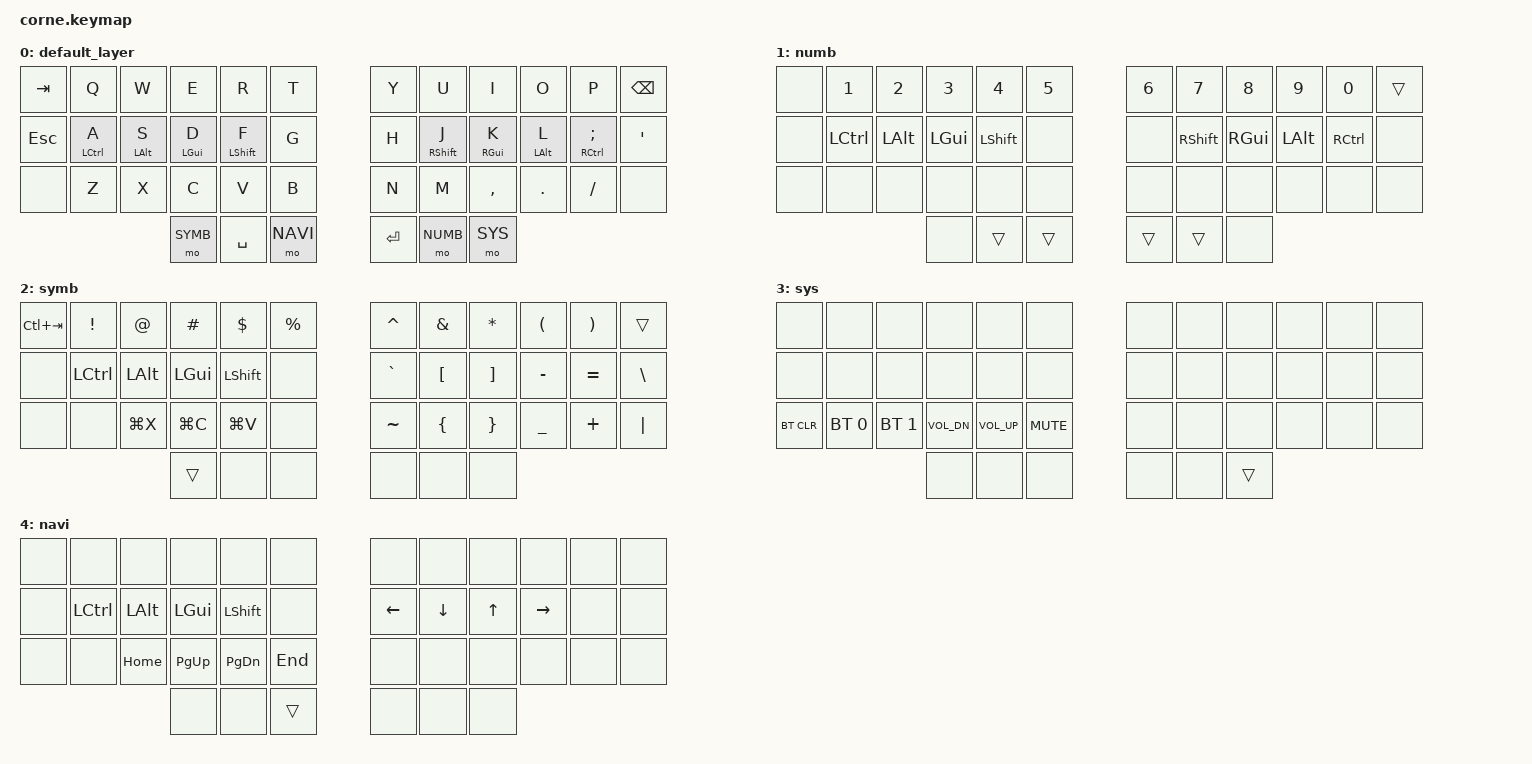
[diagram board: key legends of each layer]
#include <behaviors.dtsi>
#include <dt-bindings/zmk/keys.h>
#include <dt-bindings/zmk/bt.h>

#define DEFAULT 0
#define NUMB 1
#define SYMB 2
#define SYS 3
#define NAVI 4


/ {
   behaviors {
      bhm: balanced_homerow_mods {
         compatible = "zmk,behavior-hold-tap";
         #binding-cells = <2>;
         tapping-term-ms = <200>;
         quick-tap-ms = <200>;
         flavor = "balanced";
         bindings = <&kp>, <&kp>;
      };
      
      lbhm: long_balanced_homerow_mods {
         compatible = "zmk,behavior-hold-tap";
         #binding-cells = <2>;
         tapping-term-ms = <250>;
         quick-tap-ms = <200>;
         require-prior-idle-ms = <100>;
         flavor = "balanced";
         bindings = <&kp>, <&kp>;
      };
      
      tt: tap_toggle {
         compatible = "zmk,behavior-hold-tap";
         #binding-cells = <2>;
         tapping-term-ms = <200>;
         quick-tap-ms = <0>;
         flavor = "balanced";
         bindings = <&mo>, <&tog>;
      };
      
      plt: permissive_layer_tap {
         compatible = "zmk,behavior-hold-tap";
         #binding-cells = <2>;
         tapping-term-ms = <200>;
         quick-tap-ms = <0>;
         flavor = "balanced";
         bindings = <&mo>, <&kp>;
      };
   };

   keymap {
      compatible = "zmk,keymap";

      default_layer {
         bindings = <
//╭────────┬─────────────┬─────────────┬─────────────┬─────────────┬─────────────╮ ╭──────╮ ╭─────────────┬─────────────┬─────────────┬─────────────┬─────────────┬────────╮
   &kp TAB      &kp Q         &kp W         &kp E         &kp R         &kp T                    &kp Y         &kp U         &kp I         &kp O         &kp P     &kp BSPC
//├────────┼─────────────┼─────────────┼─────────────┼─────────────┼─────────────┤ ├──────┤ ├─────────────┼─────────────┼─────────────┼─────────────┼─────────────┼────────┤
   &kp ESC  &lbhm LCTRL A  &bhm LALT S   &bhm LGUI D   &bhm LSHFT F      &kp G                    &kp H     &bhm RSHFT J   &bhm RGUI K   &bhm LALT L  &lbhm RCTRL SEMI &kp SQT
//├────────┼─────────────┼─────────────┼─────────────┼─────────────┼─────────────┤ ├──────┤ ├─────────────┼─────────────┼─────────────┼─────────────┼─────────────┼────────┤
     &none     &kp Z         &kp X         &kp C         &kp V         &kp B                    &kp N         &kp M       &kp COMMA       &kp DOT      &kp FSLH    &none
//╰────────┼─────────────┼─────────────┴─────────────┼─────────────┼─────────────┤ ╰──────╯ ├─────────────┼─────────────┼─────────────┴─────────────┴─────────────┴────────╯
                                           &mo SYMB     &kp SPACE      &mo NAVI                 &kp RET      &mo NUMB       &mo SYS 
//                                     ╰─────────────┴─────────────┴─────────────╯          ╰─────────────┴─────────────┴─────────────╯                                           
         >;
      };
      numb {
         bindings = <
//╭────────┬─────────────┬─────────────┬─────────────┬─────────────┬─────────────╮ ╭──────╮ ╭─────────────┬─────────────┬─────────────┬─────────────┬─────────────┬────────╮
   &none       &kp N1        &kp N2        &kp N3        &kp N4        &kp N5                   &kp N6         &kp N7       &kp N8        &kp N9        &kp N0       &trans 
//├────────┼─────────────┼─────────────┼─────────────┼─────────────┼─────────────┤ ├──────┤ ├─────────────┼─────────────┼─────────────┼─────────────┼─────────────┼────────┤
   &none      &kp LCTRL     &kp LALT      &kp LGUI       &kp LSHFT     &none                    &none       &kp RSHFT      &kp RGUI     &kp LALT       &kp RCTRL     &none 
//├────────┼─────────────┼─────────────┼─────────────┼─────────────┼─────────────┤ ├──────┤ ├─────────────┼─────────────┼─────────────┼─────────────┼─────────────┼────────┤
   &none       &none          &none        &none          &none         &none                   &none          &none         &none         &none        &none        &none 
//╰────────┼─────────────┼─────────────┴─────────────┼─────────────┼─────────────┤ ╰──────╯ ├─────────────┼─────────────┼─────────────┴─────────────┴─────────────┴────────╯
                                            &none        &trans         &trans                    &trans         &trans        &none      
//                                     ╰─────────────┴─────────────┴─────────────╯          ╰─────────────┴─────────────┴─────────────╯                                           
         >;
      };
      symb {
         bindings = <
//╭────────┬─────────────┬─────────────┬─────────────┬─────────────┬─────────────╮ ╭──────╮ ╭─────────────┬─────────────┬─────────────┬─────────────┬─────────────┬────────╮
 &kp LC(TAB) &kp EXCL        &kp AT      &kp POUND     &kp DLLR      &kp PRCNT                 &kp CARET      &kp AMPS     &kp ASTRK     &kp LPAR      &kp RPAR    &trans 
//├────────┼─────────────┼─────────────┼─────────────┼─────────────┼─────────────┤ ├──────┤ ├─────────────┼─────────────┼─────────────┼─────────────┼─────────────┼────────┤
   &none      &kp LCTRL     &kp LALT      &kp LGUI      &kp LSHFT       &none                   &kp GRAVE      &kp LBKT     &kp RBKT      &kp MINUS     &kp EQUAL  &kp BSLH    
//├────────┼─────────────┼─────────────┼─────────────┼─────────────┼─────────────┤ ├──────┤ ├─────────────┼─────────────┼─────────────┼─────────────┼─────────────┼────────┤
   &none       &none        &kp LG(X)     &kp LG(C)     &kp LG(V)       &none                   &kp TILDE      &kp LBRC     &kp RBRC      &kp UNDER     &kp PLUS   &kp PIPE  
//╰────────┼─────────────┼─────────────┴─────────────┼─────────────┼─────────────┤ ╰──────╯ ├─────────────┼─────────────┼─────────────┴─────────────┴─────────────┴────────╯
                                           &trans         &none         &none                    &none         &none        &none        
//                                     ╰─────────────┴─────────────┴─────────────╯          ╰─────────────┴─────────────┴─────────────╯                                           
         >;
      };
      sys {
         bindings = <
//╭────────┬─────────────┬─────────────┬─────────────┬─────────────┬─────────────╮ ╭──────╮ ╭─────────────┬─────────────┬─────────────┬─────────────┬─────────────┬────────╮
   &none       &none          &none        &none          &none         &none                    &none         &none         &none         &none         &none       &none 
//├────────┼─────────────┼─────────────┼─────────────┼─────────────┼─────────────┤ ├──────┤ ├─────────────┼─────────────┼─────────────┼─────────────┼─────────────┼────────┤
   &none       &none          &none        &none          &none         &none                    &none         &none         &none         &none         &none       &none 
//├────────┼─────────────┼─────────────┼─────────────┼─────────────┼─────────────┤ ├──────┤ ├─────────────┼─────────────┼─────────────┼─────────────┼─────────────┼────────┤
&bt BT_CLR   &bt BT_SEL 0  &bt BT_SEL 1  &kp C_VOL_DN  &kp C_VOL_UP  &kp C_MUTE                  &none         &none         &none         &none         &none       &none 
//╰────────┼─────────────┼─────────────┴─────────────┼─────────────┼─────────────┤ ╰──────╯ ├─────────────┼─────────────┼─────────────┴─────────────┴─────────────┴────────╯
                                            &none         &none        &none                     &none         &none         &trans        
//                                     ╰─────────────┴─────────────┴─────────────╯          ╰─────────────┴─────────────┴─────────────╯                                           
         >;
      };
      navi {
         bindings = <
//╭────────┬─────────────┬─────────────┬─────────────┬─────────────┬─────────────╮ ╭──────╮ ╭─────────────┬─────────────┬─────────────┬─────────────┬─────────────┬────────╮
   &none       &none          &none        &none          &none         &none                   &none          &none         &none         &none        &none        &none 
//├────────┼─────────────┼─────────────┼─────────────┼─────────────┼─────────────┤ ├──────┤ ├─────────────┼─────────────┼─────────────┼─────────────┼─────────────┼────────┤
   &none       &kp LCTRL     &kp LALT      &kp LGUI       &kp LSHFT     &none                   &kp LEFT      &kp DOWN      &kp UP       &kp RIGHT       &none       &none 
//├────────┼─────────────┼─────────────┼─────────────┼─────────────┼─────────────┤ ├──────┤ ├─────────────┼─────────────┼─────────────┼─────────────┼─────────────┼────────┤
   &none      &none          &kp HOME    &kp PG_UP     &kp PG_DN       &kp END                   &none         &none         &none         &none        &none       &none 
//╰────────┼─────────────┼─────────────┴─────────────┼─────────────┼─────────────┤ ╰──────╯ ├─────────────┼─────────────┼─────────────┴─────────────┴─────────────┴────────╯
                                            &none        &none        &trans                     &none         &none        &none        
//                                     ╰─────────────┴─────────────┴─────────────╯          ╰─────────────┴─────────────┴─────────────╯                                           
         >;
      };
   };
        
};
